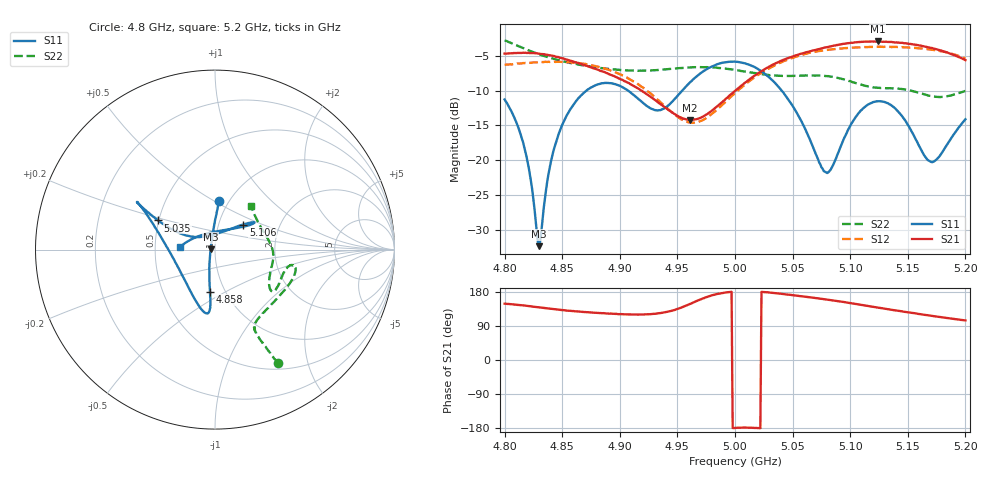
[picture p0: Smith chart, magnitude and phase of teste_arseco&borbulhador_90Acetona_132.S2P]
! Network Analyzer HP8722D
! Hewlett-Packard
! Data name: Linha & Wilkinson
! Saver's name: Rodrigo Anjos
! Comments: Teste da utilização de aquisição
! continua pelo VNA HP8722D
! Time and date: 17/4/2025 12:09
!  Frequency  S11  S21  S12  S22
# HZ  S  MA R 50
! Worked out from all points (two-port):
!   401 points, 4.8 GHz to 5.2 GHz, reference 50 ohm
!   highest |S21| = -2.98 dB at 5.124 GHz (marker M1); lowest = -14.2 dB at 4.961 GHz (marker M2)
!   |S21| within 3 dB of the highest: start of sweep to 4.862 GHz; 5.037 GHz to end of sweep
!   lowest |S11| = -32.3 dB at 4.83 GHz (marker M3), VSWR 1.05, Z = 47.6 + j0.128 ohm
!   |S11| at or under -10 dB: start of sweep to 4.871 GHz; 4.907 GHz to 4.954 GHz (47.26 MHz wide, 0.958 % of centre); 5.04 GHz to end of sweep
!   |S22| runs from -10.9 to -2.8 dB; largest |S21 - S12| = 1.3
!   S11 on the Smith chart (normalised r, x): 4.8 GHz: 0.90, +0.53; 4.858 GHz: 0.85, -0.43; 5.035 GHz: 0.50, +0.18; 5.106 GHz: 1.31, +0.38; 5.2 GHz: 0.67, +0.02
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4.8e9  0.273 85.1  0.5813 148.6  0.4829 -112.4  0.7218 -60.9
4.817e9  0.1246 93.0  0.5883 143.8  0.4959 -112.2  0.6324 -62.2
4.822e9  0.07864 100.4  0.5862 141.8  0.4993 -112.0  0.6078 -62.6
4.828e9  0.03039 137.4  0.5847 139.7  0.5031 -111.5  0.5827 -63.1
4.83e9  0.02429 176.8  0.58 138.9  0.5041 -111.4  0.574 -63.2
4.842e9  0.1135 -106.2  0.5604 134.3  0.506 -110.9  0.535 -63.7
4.858e9  0.2382 -96.7  0.5151 129.4  0.5019 -111.0  0.4961 -63.7
4.867e9  0.2951 -95.0  0.4873 127.0  0.4933 -111.1  0.4795 -62.9
4.898e9  0.3467 -101.7  0.3908 121.4  0.4207 -114.5  0.4453 -53.9
4.934e9  0.2287 -155.3  0.2572 123.2  0.2676 -115.0  0.4441 -33.7
4.961e9  0.3622 158.9  0.1942 147.9  0.1869 -89.2  0.463 -19.9
5e9  0.509 148.7  0.3139 -179.4  0.3038 -49.6  0.4438 -11.3
5.035e9  0.3563 152.9  0.4943 176.5  0.4812 -45.9  0.4053 -17.8
5.052e9  0.2304 155.1  0.562 170.3  0.5491 -47.4  0.4029 -25.2
5.067e9  0.1287 146.9  0.6105 164.7  0.5943 -49.7  0.4051 -31.6
5.075e9  0.08937 125.6  0.6328 161.4  0.6107 -51.2  0.4043 -34.3
5.081e9  0.08212 97.4  0.6483 159.0  0.6199 -52.4  0.4009 -35.6
5.106e9  0.2105 41.5  0.7018 147.2  0.6429 -58.2  0.3544 -32.1
5.124e9  0.2647 34.8  0.7098 138.3  0.6516 -63.7  0.3304 -18.8
5.134e9  0.2522 34.4  0.7046 133.6  0.649 -67.0  0.3286 -10.9
5.17e9  0.09757 98.4  0.6378 116.8  0.6209 -79.5  0.2891 19.7
5.2e9  0.1968 175.8  0.5217 104.4  0.5362 -89.3  0.314 50.3
